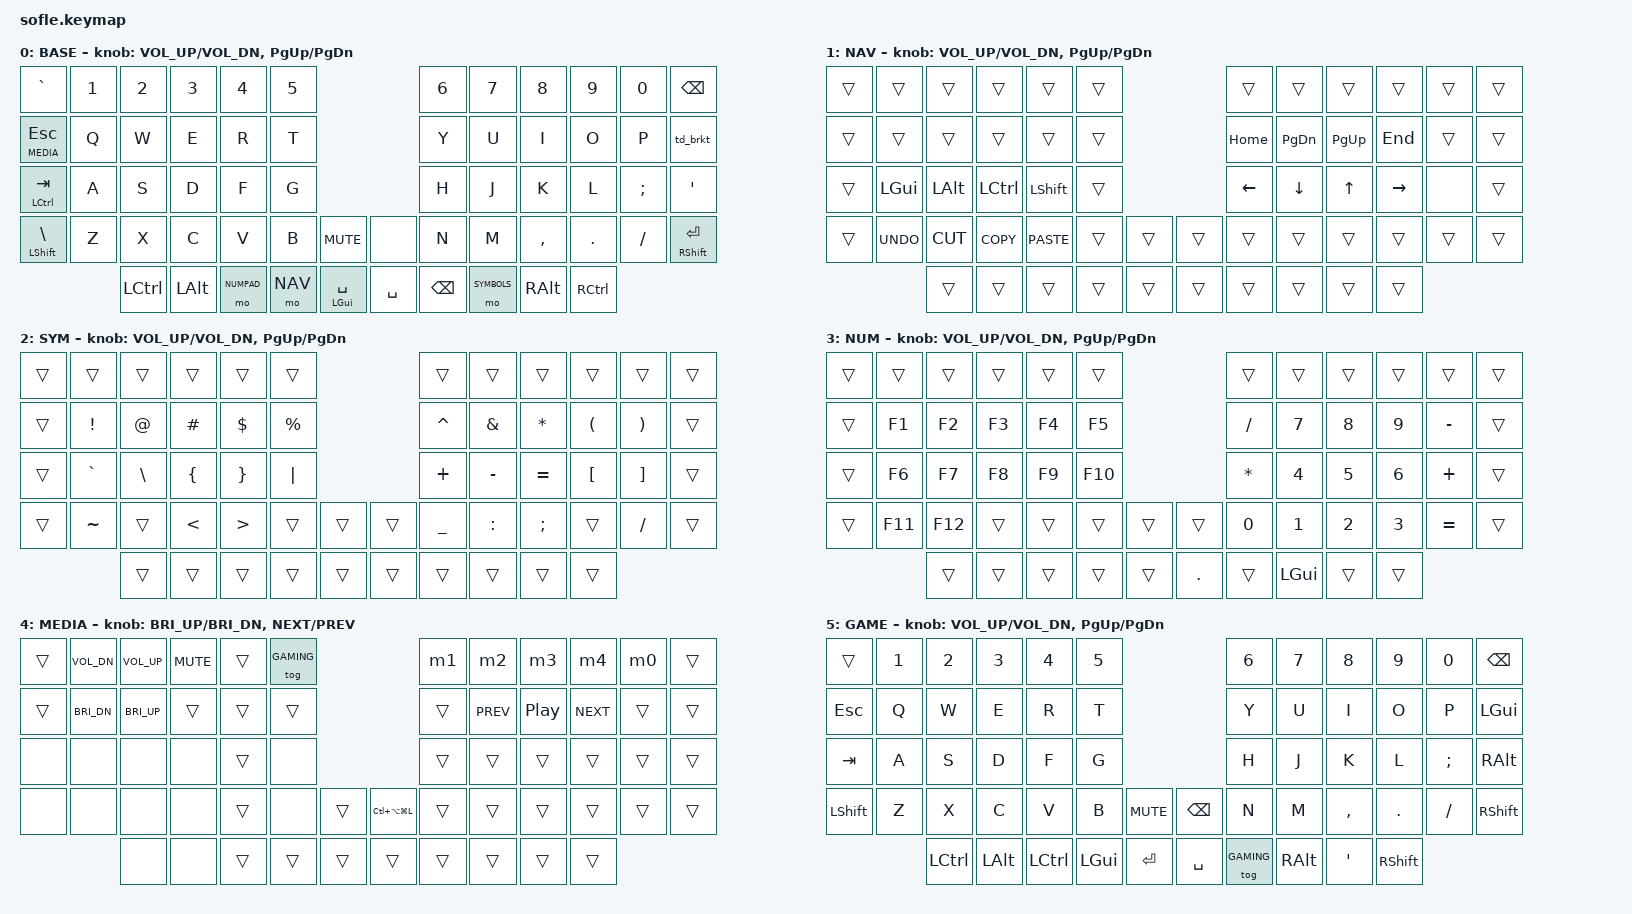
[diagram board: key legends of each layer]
/*
 * Copyright (c) 2020 The ZMK Contributors
 *
 * SPDX-License-Identifier: MIT
 *
 * Layout ported from the "DH747 W-CORNE" QMK/Vial config (current.vil):
 *   0 BASE    - QWERTY + Corne mod-taps
 *   1 NAV     - arrows / page / GUI-ALT-CTRL-SHIFT / undo-cut-copy-paste   (MO, left thumb)
 *   2 SYMBOLS - shifted number row + brackets / operators                  (MO, right thumb)
 *   3 NUMPAD  - F1-F12 + numpad                                            (MO, left thumb)
 *   4 MEDIA   - volume / brightness / transport + macros M0-M4             (hold Esc)
 *   5 GAMING  - plain QWERTY, no mod-taps                                  (toggle)
 */

#include <behaviors.dtsi>
#include <dt-bindings/zmk/keys.h>
#include <dt-bindings/zmk/bt.h>

#define BASE    0
#define NAV     1
#define SYMBOLS 2
#define NUMPAD  3
#define MEDIA   4
#define GAMING  5

/ {
    behaviors {
        // Corne TD(0): tap = "[", double-tap = "]"
        td_brkt: tap_dance_brackets {
            compatible = "zmk,behavior-tap-dance";
            #binding-cells = <0>;
            tapping-term-ms = <250>;
            bindings = <&kp LBKT>, <&kp RBKT>;
        };
    };

    macros {
        // Corne M0: type "Jvrfhf" then Enter
        m0: m0 {
            compatible = "zmk,behavior-macro";
            #binding-cells = <0>;
            wait-ms = <5>;
            tap-ms = <5>;
            bindings = <&kp LS(J) &kp V &kp R &kp F &kp H &kp F &kp RET>;
        };
        // Corne M1-M4: hold Space, tap letter, release Space
        m1: m1 {
            compatible = "zmk,behavior-macro";
            #binding-cells = <0>;
            bindings = <&macro_press &kp SPACE>, <&macro_tap &kp U>, <&macro_release &kp SPACE>;
        };
        m2: m2 {
            compatible = "zmk,behavior-macro";
            #binding-cells = <0>;
            bindings = <&macro_press &kp SPACE>, <&macro_tap &kp P>, <&macro_release &kp SPACE>;
        };
        m3: m3 {
            compatible = "zmk,behavior-macro";
            #binding-cells = <0>;
            bindings = <&macro_press &kp SPACE>, <&macro_tap &kp R>, <&macro_release &kp SPACE>;
        };
        m4: m4 {
            compatible = "zmk,behavior-macro";
            #binding-cells = <0>;
            bindings = <&macro_press &kp SPACE>, <&macro_tap &kp Q>, <&macro_release &kp SPACE>;
        };
    };

    keymap {
        compatible = "zmk,keymap";

        base_layer {
            display-name = "BASE";
// -----------------------------------------------------------------------------------------------
// |   `   |  1  |  2  |  3  |  4  |  5  |                 |  6  |  7  |  8  |  9  |  0  | BKSP |
// | ESC/M |  Q  |  W  |  E  |  R  |  T  |                 |  Y  |  U  |  I  |  O  |  P  | GUI  |
// | TAB/^ |  A  |  S  |  D  |  F  |  G  |                 |  H  |  J  |  K  |  L  |  ;  | ALT  |
// | BSL/S |  Z  |  X  |  C  |  V  |  B  | MUTE  |  [/]    |  N  |  M  |  ,  |  .  |  /  | SHFT |
//         |CTRL | ALT | NUM | NAV |SPC/GUI| SPACE | BKSP  | SYM |  '  | RET/SHFT |
            bindings = <
&kp GRAVE      &kp N1 &kp N2    &kp N3    &kp N4     &kp N5                                       &kp N6      &kp N7      &kp N8    &kp N9   &kp N0   &kp BSPC
&lt MEDIA ESC  &kp Q  &kp W     &kp E     &kp R      &kp T                                        &kp Y       &kp U       &kp I     &kp O    &kp P    &td_brkt
&mt LCTRL TAB  &kp A  &kp S     &kp D     &kp F      &kp G                                        &kp H       &kp J       &kp K     &kp L    &kp SEMI &kp SQT
&mt LSHFT BSLH &kp Z  &kp X     &kp C     &kp V      &kp B       &kp C_MUTE      &none            &kp N       &kp M       &kp COMMA &kp DOT  &kp FSLH &mt RSHFT RET
                      &kp LCTRL &kp LALT  &mo NUMPAD &mo NAV     &mt LGUI SPACE  &kp SPACE        &kp BSPC    &mo SYMBOLS &kp RALT  &kp RCTRL
            >;

            sensor-bindings = <&inc_dec_kp C_VOL_UP C_VOL_DN &inc_dec_kp PG_UP PG_DN>;
        };

        nav_layer {
            display-name = "NAV";
// -----------------------------------------------------------------------------------------------
// |     |     |     |     |     |     |                 | PGUP| HOME|  UP | END | DEL |     |
// |     | GUI | ALT |CTRL | SHFT|     |                 | PGDN| LEFT| DOWN| RGHT| BKSP|     |
// |     | UNDO| CUT | COPY| PSTE|     |                 |     |     |     |     |     |     |
// |     |     |     |     |     |     |     |     |     |     |     |     |     |     |     |
            bindings = <
&trans &trans     &trans    &trans     &trans      &trans                              &trans    &trans    &trans    &trans    &trans   &trans
&trans &trans     &trans    &trans     &trans      &trans                              &kp HOME  &kp PG_DN &kp PG_UP &kp END   &trans   &trans
&trans &kp LGUI   &kp LALT  &kp LCTRL  &kp LSHFT   &trans                              &kp LEFT  &kp DOWN  &kp UP    &kp RIGHT &none    &trans
&trans &kp K_UNDO &kp K_CUT &kp K_COPY &kp K_PASTE &trans     &trans   &trans          &trans    &trans    &trans    &trans    &trans   &trans
                  &trans    &trans     &trans      &trans     &trans   &trans          &trans    &trans    &trans    &trans
            >;

            sensor-bindings = <&inc_dec_kp C_VOL_UP C_VOL_DN &inc_dec_kp PG_UP PG_DN>;
        };

        symbols_layer {
            display-name = "SYM";
// -----------------------------------------------------------------------------------------------
// |     |  !  |  @  |  #  |  $  |  %  |                 |  ^  |  &  |  *  |  (  |  )  |     |
// |     |  `  |  \  |  {  |  }  |  |  |                 |  +  |  -  |  =  |  [  |  ]  |     |
// |     |  ~  |     |  <  |  >  |     |                 |  _  |  :  |  ;  |     |  /  |     |
// |     |     |     |     |     |     |     |     |     |     |     |     |     |     |     |
            bindings = <
&trans &trans    &trans   &trans   &trans   &trans                              &trans    &trans    &trans    &trans   &trans   &trans
&trans &kp EXCL  &kp AT   &kp HASH &kp DLLR &kp PRCNT                           &kp CARET &kp AMPS  &kp ASTRK &kp LPAR &kp RPAR &trans
&trans &kp GRAVE &kp BSLH &kp LBRC &kp RBRC &kp PIPE                            &kp PLUS  &kp MINUS &kp EQUAL &kp LBKT &kp RBKT &trans
&trans &kp TILDE &trans   &kp LT   &kp GT   &trans     &trans   &trans          &kp UNDER &kp COLON &kp SEMI  &trans   &kp FSLH &trans
                 &trans   &trans   &trans   &trans     &trans   &trans          &trans    &trans    &trans    &trans
            >;

            sensor-bindings = <&inc_dec_kp C_VOL_UP C_VOL_DN &inc_dec_kp PG_UP PG_DN>;
        };

        numpad_layer {
            display-name = "NUM";
// -----------------------------------------------------------------------------------------------
// |     | F1  | F2  | F3  | F4  | F5  |                 |  /  |  7  |  8  |  9  |  -  |     |
// |     | F6  | F7  | F8  | F9  | F10 |                 |  *  |  4  |  5  |  6  |  +  |     |
// |     | F11 | F12 |     |     |     |                 |  0  |  1  |  2  |  3  |  =  |     |
// |     |     |     |     |     |     |     |     |  .  |     | GUI |     |     |     |     |
            bindings = <
&trans &trans  &trans  &trans &trans &trans                                &trans    &trans   &trans  &trans &trans    &trans
&trans &kp F1  &kp F2  &kp F3 &kp F4 &kp F5                                &kp FSLH  &kp N7   &kp N8  &kp N9 &kp MINUS &trans
&trans &kp F6  &kp F7  &kp F8 &kp F9 &kp F10                               &kp ASTRK &kp N4   &kp N5  &kp N6 &kp PLUS  &trans
&trans &kp F11 &kp F12 &trans &trans &trans     &trans   &trans            &kp N0    &kp N1   &kp N2  &kp N3 &kp EQUAL &trans
               &trans  &trans &trans &trans     &trans   &kp DOT           &trans    &kp LGUI &trans  &trans
            >;

            sensor-bindings = <&inc_dec_kp C_VOL_UP C_VOL_DN &inc_dec_kp PG_UP PG_DN>;
        };

        media_layer {
            display-name = "MEDIA";
// -----------------------------------------------------------------------------------------------
// |     | VOL-| VOL+| MUTE|     | GAME|                 | M1  | M2  | M3  | M4  | M0  |     |
// |     | BRI-| BRI+|     |     |     |                 |     | PREV| PLAY| NEXT|     |     |
// |     |     |     |     |     |     |                 |     |     |     |     |     |     |
// |     |     |     |     |     |     |     |HYPER-L|   |     |     |     |     |     |     |
            bindings = <
&trans &kp C_VOL_DN &kp C_VOL_UP &kp C_MUTE &trans &tog GAMING                          &m1    &m2        &m3      &m4        &m0    &trans
&trans &kp C_BRI_DN &kp C_BRI_UP &trans     &trans &trans                               &trans &kp C_PREV &kp C_PP &kp C_NEXT &trans &trans
&none  &none        &none        &none      &trans &none                                &trans &trans     &trans   &trans     &trans &trans
&none  &none        &none        &none      &trans &none       &trans  &kp LC(LA(LG(L)))  &trans &trans   &trans   &trans     &trans &trans
                    &none        &none      &trans &trans      &trans  &trans             &trans &trans   &trans   &trans
            >;

            sensor-bindings = <&inc_dec_kp C_BRI_UP C_BRI_DN &inc_dec_kp C_NEXT C_PREV>;
        };

        gaming_layer {
            display-name = "GAME";
// -----------------------------------------------------------------------------------------------
// |  `  |  1  |  2  |  3  |  4  |  5  |                 |  6  |  7  |  8  |  9  |  0  | BKSP |
// | ESC |  Q  |  W  |  E  |  R  |  T  |                 |  Y  |  U  |  I  |  O  |  P  | GUI  |
// | TAB |  A  |  S  |  D  |  F  |  G  |                 |  H  |  J  |  K  |  L  |  ;  | ALT  |
// | SHFT|  Z  |  X  |  C  |  V  |  B  | MUTE  | BKSP    |  N  |  M  |  ,  |  .  |  /  | SHFT |
//       |CTRL | ALT |CTRL | GUI |ENTER  | SPACE | GAME  |RALT |  '  | SHFT |
            bindings = <
&trans    &kp N1 &kp N2    &kp N3   &kp N4    &kp N5                                    &kp N6 &kp N7 &kp N8    &kp N9  &kp N0   &kp BSPC
&kp ESC   &kp Q  &kp W     &kp E    &kp R     &kp T                                     &kp Y  &kp U  &kp I     &kp O   &kp P    &kp LGUI
&kp TAB   &kp A  &kp S     &kp D    &kp F     &kp G                                     &kp H  &kp J  &kp K     &kp L   &kp SEMI &kp RALT
&kp LSHFT &kp Z  &kp X     &kp C    &kp V     &kp B       &kp C_MUTE   &kp BSPC         &kp N  &kp M  &kp COMMA &kp DOT &kp FSLH &kp RSHFT
                 &kp LCTRL &kp LALT &kp LCTRL &kp LGUI    &kp RET      &kp SPACE  &tog GAMING  &kp RALT &kp SQT &kp RSHFT
            >;

            sensor-bindings = <&inc_dec_kp C_VOL_UP C_VOL_DN &inc_dec_kp PG_UP PG_DN>;
        };

    };
};
